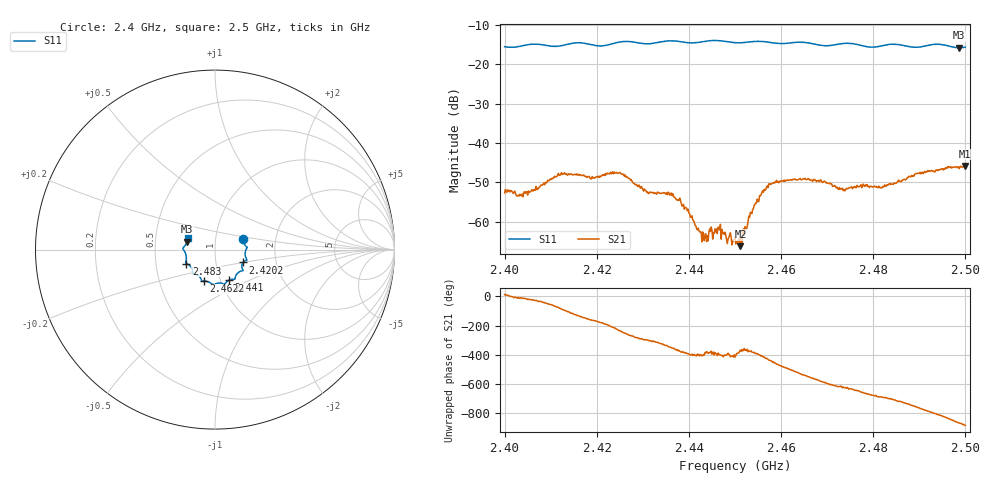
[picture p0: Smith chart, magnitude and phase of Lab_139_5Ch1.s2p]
# Hz S RI R 50
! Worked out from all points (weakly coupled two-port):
!   601 points, 2.4 GHz to 2.5 GHz, reference 50 ohm
!   highest |S21| = -45.88 dB at 2.4998 GHz (marker M1); lowest = -66.2 dB at 2.4512 GHz (marker M2)
!   lowest |S11| = -15.8 dB at 2.4987 GHz (marker M3), VSWR 1.39, Z = 36.4 + j3.3 ohm
!   |S11| at or under -10 dB: start of sweep to end of sweep
!   S12 and S22 are empty: the file has one direction only
!   S11 on the Smith chart (normalised r, x): 2.4 GHz: 1.36, +0.17; 2.4202 GHz: 1.35, -0.20; 2.441 GHz: 1.09, -0.39; 2.4622 GHz: 0.83, -0.30; 2.483 GHz: 0.72, -0.12; 2.5 GHz: 0.73, +0.09
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2.4e9  0.1564 0.06  0.00226 0.00053  0 0  0 0
2.4035e9  0.1686 0.0229  0.00212 -0.000322  0 0  0 0
2.412e9  0.1682 -0.0308  0.000612 -0.00382  0 0  0 0
2.416667e9  0.1776 -0.0584  -0.00291 -0.00254  0 0  0 0
2.420167e9  0.1561 -0.0719  -0.00371 -0.00061  0 0  0 0
2.425333e9  0.1564 -0.114  -0.00196 0.00352  0 0  0 0
2.433333e9  0.1128 -0.1524  0.00165 0.00166  0 0  0 0
2.437833e9  0.1045 -0.1648  0.00185 -0.000282  0 0  0 0
2.441e9  0.0768 -0.1706  0.000777 -0.000671  0 0  0 0
2.443333e9  0.0596 -0.1853  0.000434 -0.000375  0 0  0 0
2.446333e9  0.0508 -0.1938  0.000756 -0.000391  0 0  0 0
2.45e9  0.0266 -0.1862  0.00036 -0.000509  0 0  0 0
2.451167e9  0.0153 -0.1871  0.000483 -6.31e-05  0 0  0 0
2.455833e9  -0.0132 -0.1946  0.0016 -0.0017  0 0  0 0
2.462167e9  -0.0631 -0.1764  -0.00268 -0.00212  0 0  0 0
2.466667e9  -0.0766 -0.1669  -0.00321 0.00103  0 0  0 0
2.4735e9  -0.1233 -0.1365  -0.000471 0.00243  0 0  0 0
2.483e9  -0.1592 -0.0779  0.0027 0.00122  0 0  0 0
2.483333e9  -0.1607 -0.0774  0.00277 0.00109  0 0  0 0
2.498667e9  -0.1559 0.0441  -0.00384 -0.00274  0 0  0 0
2.499833e9  -0.1534 0.0603  -0.00477 -0.00175  0 0  0 0
2.5e9  -0.1531 0.0626  -0.00468 -0.0015  0 0  0 0
